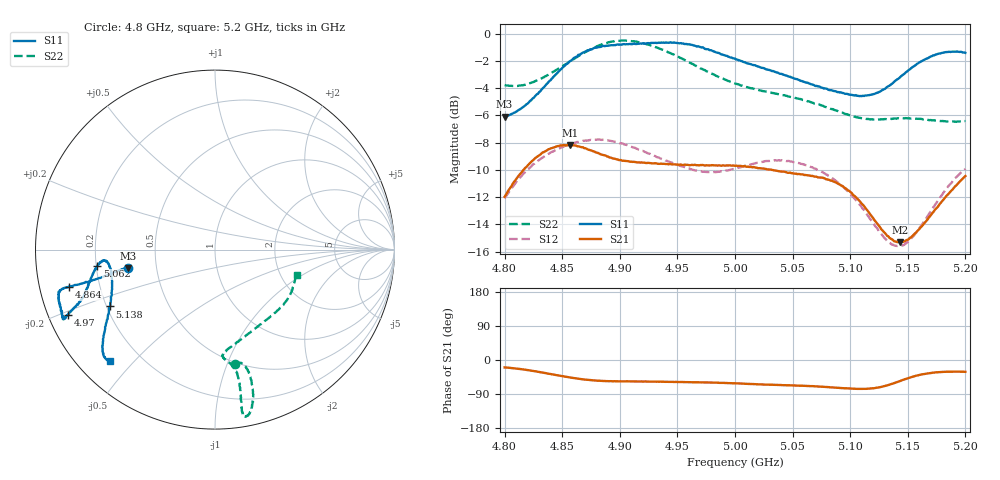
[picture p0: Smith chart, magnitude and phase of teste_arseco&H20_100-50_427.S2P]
! Network Analyzer HP8722D
! Hewlett-Packard
! Data name: Linha & Wilkinson
! Saver's name: Rodrigo Anjos
! Comments: Teste da utilização de aquisição
! continua pelo VNA HP8722D
! Time and date: 6/5/2025 16:07
!  Frequency  S11  S21  S12  S22
# HZ  S  MA R 50
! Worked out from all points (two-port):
!   401 points, 4.8 GHz to 5.2 GHz, reference 50 ohm
!   highest |S21| = -8.16 dB at 4.857 GHz (marker M1); lowest = -15.3 dB at 5.143 GHz (marker M2)
!   |S21| within 3 dB of the highest: 4.806 GHz to 5.093 GHz (286.4 MHz wide, 5.79 % of centre); 5.191752 GHz to end of sweep
!   lowest |S11| = -6.1 dB at 4.8 GHz (marker M3), VSWR 2.97, Z = 17 - j4.65 ohm
!   |S11| at or under -10 dB: nowhere
!   |S22| runs from -6.5 to -0.5 dB; largest |S21 - S12| = 0.62
!   S11 on the Smith chart (normalised r, x): 4.8 GHz: 0.34, -0.09; 4.864 GHz: 0.09, -0.12; 4.97 GHz: 0.06, -0.21; 5.062 GHz: 0.20, -0.07; 5.138 GHz: 0.21, -0.24; 5.2 GHz: 0.09, -0.43
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4.8e9  0.4962 -168.0  0.252 -19.7  0.2488 -140.8  0.6486 -80.3
4.828e9  0.5997 -166.9  0.353 -30.6  0.3389 -144.8  0.6744 -75.4
4.857e9  0.7951 -165.7  0.3908 -46.1  0.393 -150.2  0.7926 -74.6
4.864e9  0.8376 -165.6  0.3861 -49.4  0.4002 -151.4  0.8282 -75.2
4.867e9  0.8488 -165.6  0.3831 -50.7  0.403 -151.9  0.8422 -75.4
4.898e9  0.9141 -162.8  0.3456 -56.1  0.3985 -156.3  0.9429 -78.9
4.914e9  0.9176 -159.5  0.3378 -56.5  0.3792 -156.9  0.9376 -80.2
4.934e9  0.9291 -156.3  0.3328 -57.4  0.3508 -155.5  0.8839 -80.5
4.97e9  0.8936 -156.1  0.3295 -59.1  0.3125 -146.9  0.7468 -79.7
5e9  0.8105 -159.0  0.3274 -61.7  0.3199 -137.2  0.6573 -81.4
5.036e9  0.7219 -165.5  0.3141 -65.9  0.3424 -134.3  0.6024 -85.6
5.062e9  0.6619 -172.1  0.3025 -68.4  0.3291 -136.2  0.5676 -83.8
5.067e9  0.652 -173.0  0.3009 -69.0  0.3234 -136.7  0.5584 -82.7
5.086e9  0.6163 -174.3  0.2862 -72.8  0.2915 -138.3  0.5257 -75.2
5.103e9  0.5949 -171.3  0.2551 -76.0  0.2503 -138.6  0.4971 -65.3
5.117e9  0.5963 -164.6  0.2182 -75.5  0.2095 -135.0  0.4848 -55.0
5.134e9  0.6447 -154.1  0.1782 -65.1  0.1706 -120.6  0.4873 -43.3
5.138e9  0.6656 -151.6  0.1731 -61.1  0.1671 -115.6  0.4883 -40.8
5.143e9  0.6908 -149.0  0.1713 -55.8  0.1658 -108.9  0.4888 -37.9
5.154e9  0.7542 -144.2  0.1806 -44.3  0.1793 -94.9  0.4889 -32.3
5.173e9  0.834 -138.6  0.224 -33.3  0.233 -80.7  0.4813 -24.2
5.2e9  0.8519 -133.4  0.3001 -31.2  0.3193 -76.8  0.478 -17.5
